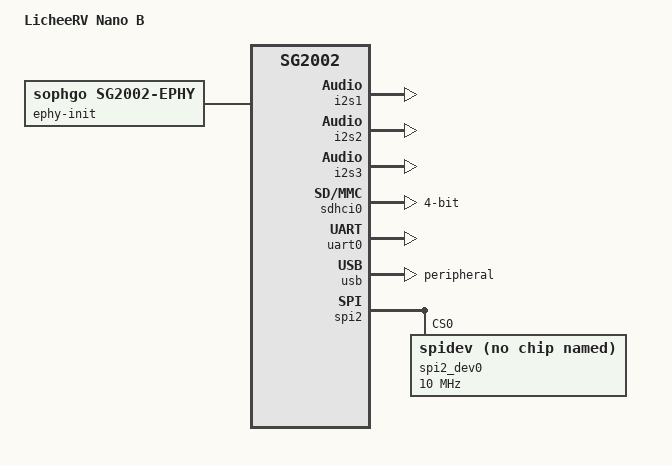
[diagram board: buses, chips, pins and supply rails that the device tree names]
// SPDX-License-Identifier: (GPL-2.0 OR MIT)
/*
* Copyright (C) 2024 Thomas Bonnefille <thomas.bonnefille@bootlin.com>
*/

/dts-v1/;

#include "sg2002.dtsi"

/ {
	model = "LicheeRV Nano B";
	compatible = "sipeed,licheerv-nano-b", "sipeed,licheerv-nano", "sophgo,sg2002";
	
	aliases {
		gpio0 = &gpio0;
		gpio1 = &gpio1;
		gpio2 = &gpio2;
		gpio3 = &gpio3;
		serial0 = &uart0;
		serial1 = &uart1;
		serial2 = &uart2;
		serial3 = &uart3;
		serial4 = &uart4;
	};
	
	chosen {
		stdout-path = "serial0:115200n8";
	};
};

&osc {
	clock-frequency = <25000000>;
};

&pinctrl {
	uart0_cfg: uart0-cfg {
		uart0-pins {
			pinmux = <PINMUX(PIN_UART0_TX, 0)>,
			<PINMUX(PIN_UART0_RX, 0)>;
			bias-pull-up;
			drive-strength-microamp = <10800>;
			power-source = <3300>;
		};
	};
	
	sdhci0_cfg: sdhci0-cfg {
		sdhci0-clk-pins {
			pinmux = <PINMUX(PIN_SD0_CLK, 0)>;
			bias-pull-up;
			drive-strength-microamp = <16100>;
			power-source = <3300>;
		};
		
		sdhci0-cmd-pins {
			pinmux = <PINMUX(PIN_SD0_CMD, 0)>;
			bias-pull-up;
			drive-strength-microamp = <10800>;
			power-source = <3300>;
		};
		
		sdhci0-data-pins {
			pinmux = <PINMUX(PIN_SD0_D0, 0)>,
			<PINMUX(PIN_SD0_D1, 0)>,
			<PINMUX(PIN_SD0_D2, 0)>,
			<PINMUX(PIN_SD0_D3, 0)>;
			bias-pull-up;
			drive-strength-microamp = <10800>;
			power-source = <3300>;
		};
		
		sdhci0-cd-pins {
			pinmux = <PINMUX(PIN_SD0_CD, 0)>;
			bias-pull-up;
			drive-strength-microamp = <10800>;
			power-source = <3300>;
		};
	};
	spi2_cfg: spi2_cfg{
		spi2-pins {
			pinmux = <PINMUX(PIN_SD1_CLK, 1)>,  /* GP6  -> SPI2_SCK  */
			<PINMUX(PIN_SD1_CMD, 1)>,  /* GP7  -> SPI2_MOSI */
			<PINMUX(PIN_SD1_D0,  1)>,  /* GP8  -> SPI2_MISO */
			<PINMUX(PIN_SD1_D3,  1)>;  /* GP9  -> SPI2_CS   */
			
			// bias-disable;
			drive-strength-microamp = <10800>;
			power-source = <3300>;
		};
	};
	
	
};

&sdhci0 {
	pinctrl-0 = <&sdhci0_cfg>;
	pinctrl-names = "default";
	status = "okay";
	bus-width = <4>;
	no-1-8-v;
	no-mmc;
	no-sdio;
	disable-wp;
};

&uart0 {
	pinctrl-0 = <&uart0_cfg>;
	pinctrl-names = "default";
	status = "okay";
};

&usb {
	dr_mode = "peripheral";
	status = "okay";
	vbus-gpio = <&portb 6 0>;
	g-rx-fifo-size = <1536>;
	g-tx-fifo-size = <128 128 64 64 64 64 32 32>;
};

&spi2 {
	status = "okay";
	pinctrl-0 = <&spi2_cfg>;
	pinctrl-names = "default";
	num-cs = <1>;
	spi2_dev0: spidev@0 {
		compatible = "rohm,dh2228fv";
		reg = <0>;
		spi-max-frequency = <10000000>;
	};
	
};

&dmac {
	status = "okay";
};
&dmamux {
	status = "okay";
};
&pinctrl {
	i2s2_cfg: i2s2_cfg{
		i2s2-out {
			pinmux = <PINMUX(PIN_ETH_TXM, 7)>,
			<PINMUX(PIN_ETH_RXP,  7)>,
			<PINMUX(PIN_ETH_RXM,  7)>;
			
			bias-disable;
			drive-strength-microamp = <15700>;
			power-source = <1800>;
		};
		i2s2-in {
			pinmux = <PINMUX(PIN_ETH_TXP, 7)>;
			
			// bias-disable;
			// drive-strength-microamp = <10800>;
			power-source = <1800>;
		};
	};
};
/*
in the base file

*/
/ {
	ephy-init {/// delete me!!!!
		compatible = "sophgo,sg2002-ephy";
	};
	aiao: audio-syscon@4108000 {
		compatible = "sophgo,sg2002-aiao", "syscon";
		reg = <0x04108000 0x1000>;
	};
	i2s0: i2s@4100000 {
		compatible = "cvitek,cv1835-i2s";
		reg = <0x04100000 0x10000>;
		#address-cells = <1>;
		#size-cells = <0>;
		aiao = <&aiao>;
		clocks = <&clk CLK_APB_I2S0>,  <&clk CLK_SDMA_AUD0>;
		clock-names = "i2s", "mclk";
		aiao,tdm-id = <0>;
		dmas = <&dmamux 0 1>, <&dmamux 1 1>;
		dma-names = "rx", "tx";
		capability = "txrx";
		status = "disabled";
		assigned-clocks = <&clk CLK_SDMA_AUD0>;
		assigned-clock-rates = <49152000>;// todo make it configurable by hw formats 
	};
	i2s1: i2s@4110000 {
		compatible = "cvitek,cv1835-i2s";
		reg = <0x04110000 0x10000>;
		#address-cells = <1>;
		#size-cells = <0>;// check if can be dropped
		aiao = <&aiao>;
		clocks = <&clk CLK_APB_I2S1>,  <&clk CLK_SDMA_AUD1>;
		clock-names = "i2s", "mclk";
		aiao,tdm-id = <1>;
		dmas = <&dmamux 2 1>, <&dmamux 3 1>;
		dma-names = "rx", "tx";
		capability = "txrx";
		status = "disabled";
		assigned-clocks = <&clk CLK_SDMA_AUD1>;
		assigned-clock-rates = <49152000>;// todo make it configurable by hw formats 
	};
	i2s2: i2s@4120000 {
		compatible = "cvitek,cv1835-i2s";
		reg = <0x04120000 0x10000>;
		#address-cells = <1>;
		#size-cells = <0>;
		aiao = <&aiao>;
		clocks = <&clk CLK_APB_I2S2>,  <&clk CLK_SDMA_AUD2>;
		clock-names = "i2s", "mclk";
		aiao,tdm-id = <2>;
		dmas = <&dmamux 4 1>, <&dmamux 5 1>;
		dma-names = "rx", "tx";
		capability = "txrx";
		status = "disabled";
		assigned-clocks = <&clk CLK_SDMA_AUD2>;
		assigned-clock-rates = <49152000>;// todo make it configurable by hw formats 
	};
	i2s3: i2s@4130000 {
		compatible = "cvitek,cv1835-i2s";
		reg = <0x04130000 0x10000>;
		#address-cells = <1>;
		#size-cells = <0>;
		aiao = <&aiao>;
		clocks = <&clk CLK_APB_I2S3>,  <&clk CLK_SDMA_AUD3>;
		clock-names = "i2s", "mclk";
		aiao,tdm-id = <3>;
		dmas = <&dmamux 6 1>, <&dmamux 7 1>;
		dma-names = "rx", "tx";
		capability = "txrx";
		status = "disabled";
		assigned-clocks = <&clk CLK_SDMA_AUD3>;
		assigned-clock-rates = <49152000>;// todo make it configurable by hw formats 
	};
};
&i2s1 {
	pinctrl-0 = <&i2s2_cfg>;
	pinctrl-names = "default";
	#sound-dai-cells = <0>;
	capability = "tx";
	sg,sdo-out = <6>;
	sg,fs-in = <2>;
	sg,sclk-in = <2>;
	
	status = "okay";
	
};
&i2s2 {
	pinctrl-0 = <&i2s2_cfg>;
	pinctrl-names = "default";
	sg,only-clock;
	sg,tdm-master;// set master to enable clocks lrck/bclk output
	sg,sdo-out = <5>;
	status = "okay";
};
&i2s3 {
	pinctrl-0 = <&i2s2_cfg>;
	pinctrl-names = "default";
	#sound-dai-cells = <0>;
	capability = "rx";
	sg,sdi-in = <6>;
	sg,fs-in = <2>;
	sg,sclk-in = <2>;
	
	status = "okay";
};



/ {
	codec0: dummy-codec@0 {
		compatible = "invensense,ics43432";
		#sound-dai-cells = <0>;
	};
	codec1: dummy-codec@1 {
		compatible = "maxim,max98360a";
		#sound-dai-cells = <0>;
	};
	sound_rx {
		compatible = "simple-audio-card";
		simple-audio-card,name = "sg2002-i2s-rx";
		simple-audio-card,format = "i2s";
		simple-audio-card,bitclock-master = <&sound_rx_cpu>;
		simple-audio-card,frame-master = <&sound_rx_cpu>;
		
		
		sound_rx_cpu: simple-audio-card,cpu {
			sound-dai = <&i2s3>;
		};
		
		simple-audio-card,codec {
			sound-dai = <&codec0>;// real codec node, or whatever you have
		};
	};
	sound_tx {
		compatible = "simple-audio-card";
		simple-audio-card,name = "sg2002-i2s-tx";
		simple-audio-card,format = "i2s";
		simple-audio-card,bitclock-master = <&sound_tx_cpu>;
		simple-audio-card,frame-master = <&sound_tx_cpu>;
		
		
		sound_tx_cpu: simple-audio-card,cpu {
			sound-dai = <&i2s1>;
		};
		
		simple-audio-card,codec {
			sound-dai = <&codec1>;// real codec node, or whatever you have
		};
	};
};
